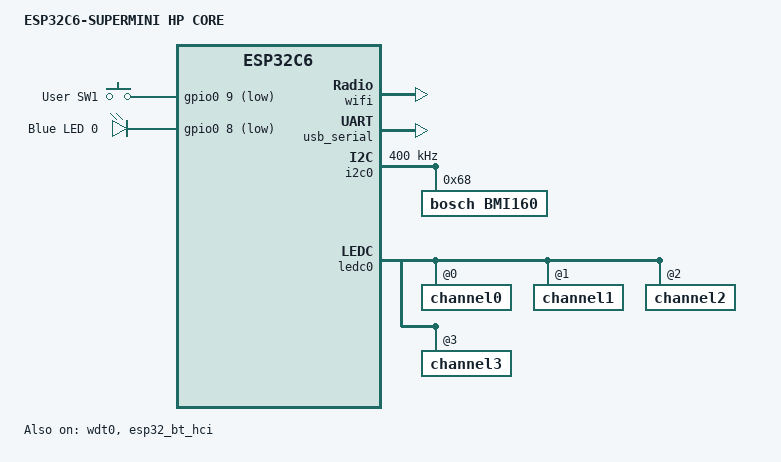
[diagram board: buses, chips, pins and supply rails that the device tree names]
/dts-v1/;

#include <espressif/esp32c6/esp32c6.dtsi>
#include "esp32c6_supermini-pinctrl.dtsi"
#include <zephyr/dt-bindings/input/input-event-codes.h>
#include <espressif/partitions_0x0_default.dtsi>

/ {
    model = "ESP32C6-SUPERMINI HP CORE";
    compatible = "espressif,esp32c6";

    aliases {
        watchdog0 = &wdt0;
        led-0 = &blue_led_0;
        uart-0 = &uart0;
        sw0 = &user_button1;
    };

    chosen {
		zephyr,sram = &sramhp;
		zephyr,console = &usb_serial;
		zephyr,shell-uart = &usb_serial;
		zephyr,flash = &flash0;
		zephyr,code-partition = &slot0_partition;
		zephyr,ieee802154 = &ieee802154;
	};

    gpio_keys {
		compatible = "gpio-keys";

		user_button1: button_1 {
			label = "User SW1";
			gpios = <&gpio0 9 (GPIO_PULL_UP | GPIO_ACTIVE_LOW)>;
			zephyr,code = <INPUT_KEY_0>;
		};
	};

	leds {
		compatible = "gpio-leds";

		blue_led_0: led_0 {
			gpios = <&gpio0 8 GPIO_ACTIVE_LOW>;
			label = "Blue LED 0";
		};
	};
};

&flash0 {
	reg = <0x0 DT_SIZE_M(4)>;
	ranges = <0x0 0x0 DT_SIZE_M(4)>;
};

&gpio0 {
	status = "okay";
};

&wdt0 {
	status = "okay";
};

&esp32_bt_hci {
	status = "okay";
};

&wifi {
	status = "okay";
};

&usb_serial {
	status = "okay";
};

&i2c0 {
	status = "okay";
	clock-frequency = <I2C_BITRATE_FAST>;
	pinctrl-0 = <&i2c0_default>;
	pinctrl-names = "default";

	bmi160: bmi160@68 {
		compatible = "bosch,bmi160";
		/* Troque para 0x69 se o pino SDO/SA0 do seu módulo estiver em nível alto. */
		reg = <0x68>;
	};
};

&ledc0 {
	status = "okay";
	pinctrl-0 = <&ledc0_default>;
	pinctrl-names = "default";
	#address-cells = <1>;
	#size-cells = <0>;

	channel0@0 {
		reg = <0x0>;
		timer = <0>;
	};

	channel1@1 {
		reg = <0x1>;
		timer = <0>;
	};

	channel2@2 {
		reg = <0x2>;
		timer = <0>;
	};

	channel3@3 {
		reg = <0x3>;
		timer = <0>;
	};
};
